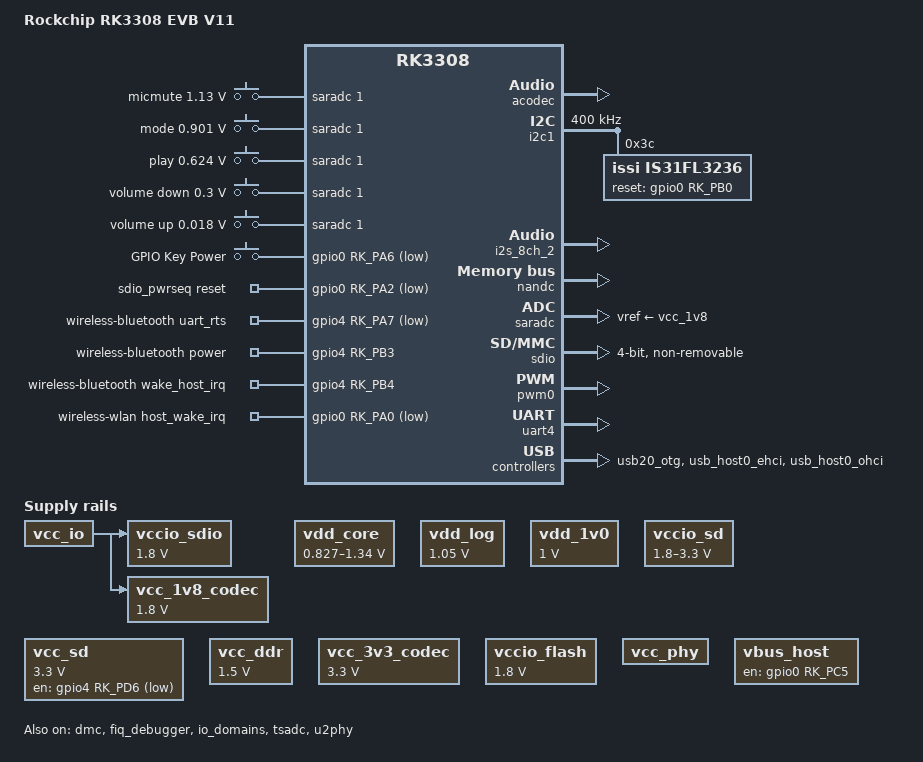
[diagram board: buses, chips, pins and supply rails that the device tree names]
// SPDX-License-Identifier: (GPL-2.0+ OR MIT)
/*
 * Copyright (c) 2018 Fuzhou Rockchip Electronics Co., Ltd
 */

#include <dt-bindings/input/input.h>
#include "rk3308.dtsi"

/ {
	model = "Rockchip RK3308 EVB V11";
	compatible = "rockchip,rk3308-evb-v11", "rockchip,rk3308";

	chosen {
		bootargs = "earlycon=uart8250,mmio32,0xff0c0000 swiotlb=1 console=ttyFIQ0 root=PARTUUID=614e0000-0000 rootfstype=squashfs rootwait";
	};

	adc-keys {
		compatible = "adc-keys";
		io-channels = <&saradc 1>;
		io-channel-names = "buttons";
		poll-interval = <100>;
		keyup-threshold-microvolt = <1800000>;

		esc-key {
			linux,code = <KEY_MICMUTE>;
			label = "micmute";
			press-threshold-microvolt = <1130000>;
		};

		home-key {
			linux,code = <KEY_MODE>;
			label = "mode";
			press-threshold-microvolt = <901000>;
		};

		menu-key {
			linux,code = <KEY_PLAY>;
			label = "play";
			press-threshold-microvolt = <624000>;
		};

		vol-down-key {
			linux,code = <KEY_VOLUMEDOWN>;
			label = "volume down";
			press-threshold-microvolt = <300000>;
		};

		vol-up-key {
			linux,code = <KEY_VOLUMEUP>;
			label = "volume up";
			press-threshold-microvolt = <18000>;
		};
	};

	dummy_codec: dummy-codec {
		compatible = "rockchip,dummy-codec";
		#sound-dai-cells = <0>;
	};

	gpio-keys {
		compatible = "gpio-keys";
		autorepeat;

		pinctrl-names = "default";
		pinctrl-0 = <&pwr_key>;

		power {
			gpios = <&gpio0 RK_PA6 GPIO_ACTIVE_LOW>;
			linux,code = <KEY_POWER>;
			label = "GPIO Key Power";
			wakeup-source;
			debounce-interval = <100>;
		};
	};

	sdio_pwrseq: sdio-pwrseq {
		compatible = "mmc-pwrseq-simple";
		pinctrl-names = "default";
		pinctrl-0 = <&wifi_enable_h>;

		/*
		 * On the module itself this is one of these (depending
		 * on the actual card populated):
		 * - SDIO_RESET_L_WL_REG_ON
		 * - PDN (power down when low)
		 */
		reset-gpios = <&gpio0 RK_PA2 GPIO_ACTIVE_LOW>;
	};

	acodec_sound: acodec-sound {
		compatible = "rockchip,multicodecs-card";
		rockchip,card-name = "rockchip,rk3308-acodec";
		rockchip,codec-hp-det;
		rockchip,mclk-fs = <256>;
		rockchip,cpu = <&i2s_8ch_2>;
		rockchip,codec = <&acodec>;
	};

	bluetooth_sound: bluetooth-sound {
		status = "disabled";
		compatible = "rockchip,multicodecs-card";
		rockchip,card-name = "rockchip,rk3308-pcm";
		rockchip,mclk-fs = <128>;
		rockchip,cpu = <&i2s_2ch_0>;
		rockchip,codec = <&dummy_codec>;
		rockchip,format = "dsp_b";
		rockchip,bitclock-inversion = <0>;
		rockchip,bitclock-master = <&dummy_codec>;
		rockchip,frame-master = <&dummy_codec>;
		rockchip,wait-card-locked = <0>;
	};

	spdif_tx_sound: spdif-tx-sound {
		status = "disabled";
		compatible = "simple-audio-card";
		simple-audio-card,name = "rockchip,spdif-tx-sound";
		simple-audio-card,cpu {
			sound-dai = <&spdif_tx>;
		};
		simple-audio-card,codec {
			sound-dai = <&dummy_codec>;
		};
	};

	vdd_core: vdd-core {
		compatible = "pwm-regulator";
		pwms = <&pwm0 0 5000 1>;
		regulator-name = "vdd_core";
		regulator-min-microvolt = <827000>;
		regulator-max-microvolt = <1340000>;
		regulator-init-microvolt = <1015000>;
		regulator-always-on;
		regulator-boot-on;
		regulator-settling-time-up-us = <250>;
		status = "okay";
	};

	vdd_log: vdd-log {
		compatible = "regulator-fixed";
		regulator-name = "vdd_log";
		regulator-always-on;
		regulator-boot-on;
		regulator-min-microvolt = <1050000>;
		regulator-max-microvolt = <1050000>;
	};

	vdd_1v0: vdd-1v0 {
		compatible = "regulator-fixed";
		regulator-name = "vdd_1v0";
		regulator-always-on;
		regulator-boot-on;
		regulator-min-microvolt = <1000000>;
		regulator-max-microvolt = <1000000>;
	};

	vccio_sdio: vcc_1v8: vcc-1v8 {
		compatible = "regulator-fixed";
		regulator-name = "vcc_1v8";
		regulator-always-on;
		regulator-boot-on;
		regulator-min-microvolt = <1800000>;
		regulator-max-microvolt = <1800000>;
		vin-supply = <&vcc_io>;
	};

	vccio_sd: vccio-sd {
		compatible = "regulator-gpio";
		regulator-name = "vccio_sd";
		regulator-min-microvolt = <1800000>;
		regulator-max-microvolt = <3300000>;
		gpios = <&gpio0 RK_PB7 GPIO_ACTIVE_HIGH>;
		states = <1800000 0x0
			  3300000 0x1>;
	};

	vcc_sd: vcc-sd {
		compatible = "regulator-fixed";
		gpio = <&gpio4 RK_PD6 GPIO_ACTIVE_LOW>;
		regulator-name = "vcc_sd";
		regulator-min-microvolt = <3300000>;
		regulator-max-microvolt = <3300000>;
	};

	vcc_1v8_codec: vcc-1v8-codec {
		compatible = "regulator-fixed";
		regulator-name = "vcc_1v8_codec";
		regulator-always-on;
		regulator-boot-on;
		regulator-min-microvolt = <1800000>;
		regulator-max-microvolt = <1800000>;
		vin-supply = <&vcc_io>;
	};

	vcc_ddr: vcc-ddr {
		compatible = "regulator-fixed";
		regulator-name = "vcc_ddr";
		regulator-always-on;
		regulator-boot-on;
		regulator-min-microvolt = <1500000>;
		regulator-max-microvolt = <1500000>;
	};

	vcc_3v3_codec: vcc_io: vcc-io {
		compatible = "regulator-fixed";
		regulator-name = "vcc_io";
		regulator-always-on;
		regulator-boot-on;
		regulator-min-microvolt = <3300000>;
		regulator-max-microvolt = <3300000>;
	};

	vccio_flash: vccio-flash {
		compatible = "regulator-fixed";
		regulator-name = "vccio_flash";
		regulator-always-on;
		regulator-boot-on;
		regulator-min-microvolt = <1800000>;
		regulator-max-microvolt = <1800000>;
	};

	vcc_phy: vcc-phy-regulator {
		compatible = "regulator-fixed";
		regulator-name = "vcc_phy";
		regulator-always-on;
		regulator-boot-on;
	};

	vbus_host: vbus-host-regulator {
		compatible = "regulator-fixed";
		enable-active-high;
		gpio = <&gpio0 RK_PC5 GPIO_ACTIVE_HIGH>;
		pinctrl-names = "default";
		pinctrl-0 = <&usb_drv>;
		regulator-name = "vbus_host";
	};

	wireless-bluetooth {
		compatible = "bluetooth-platdata";
		uart_rts_gpios = <&gpio4 RK_PA7 GPIO_ACTIVE_LOW>;
		pinctrl-names = "default", "rts_gpio";
		pinctrl-0 = <&uart4_rts>;
		pinctrl-1 = <&uart4_rts_gpio>;
		BT,power_gpio    = <&gpio4 RK_PB3 GPIO_ACTIVE_HIGH>;
		BT,wake_host_irq = <&gpio4 RK_PB4 GPIO_ACTIVE_HIGH>;
		status = "okay";
	};

	wireless-wlan {
		compatible = "wlan-platdata";
		rockchip,grf = <&grf>;
		pinctrl-names = "default";
		pinctrl-0 = <&wifi_wake_host>;
		wifi_chip_type = "ap6255";
		WIFI,host_wake_irq = <&gpio0 RK_PA0 GPIO_ACTIVE_LOW>;
		status = "okay";
	};
};

&acodec {
	status = "okay";

	rockchip,loopback-grp = <0>;
	hp-ctl-gpios = <&gpio0 RK_PA1 GPIO_ACTIVE_HIGH>;
	spk-ctl-gpios = <&gpio0 RK_PA5 GPIO_ACTIVE_HIGH>;
};

&cpu0 {
	cpu-supply = <&vdd_core>;
};

&cpu0_opp_table {
	opp-1200000000 {
		status = "okay";
	};
	opp-1296000000 {
		status = "okay";
	};
};

&dmc {
	center-supply = <&vdd_log>;
	status = "okay";
};

&emmc {
	bus-width = <8>;
	cap-mmc-highspeed;
	mmc-hs200-1_8v;
	supports-emmc;
	disable-wp;
	non-removable;
	num-slots = <1>;
	status = "disabled";
};

&fiq_debugger {
	status = "okay";
};

&mac {
	phy-supply = <&vcc_phy>;
	assigned-clocks = <&cru SCLK_MAC>;
	assigned-clock-parents = <&mac_clkin>;
	clock_in_out = "input";
	pinctrl-names = "default";
	pinctrl-0 = <&rmii_pins &mac_refclk>;
	snps,reset-gpio = <&gpio0 RK_PB2 GPIO_ACTIVE_LOW>;
	snps,reset-active-low;
	snps,reset-delays-us = <0 50000 50000>;
	status = "disable";
};

&io_domains {
	status = "okay";

	vccio0-supply = <&vcc_io>;
	vccio1-supply = <&vcc_io>;
	vccio2-supply = <&vcc_1v8>;
	vccio3-supply = <&vccio_flash>;
	vccio4-supply = <&vccio_sdio>;
	vccio5-supply = <&vccio_sd>;
};

&i2c1 {
	clock-frequency = <400000>;
	status = "okay";

	is31fl3236: led-controller@3c {
		compatible = "issi,is31fl3236";
		reg = <0x3c>;
		#address-cells = <1>;
		#size-cells = <0>;
		reset-gpios = <&gpio0 RK_PB0 GPIO_ACTIVE_HIGH>;
		status = "okay";

		led1: led@1 {
			label = "led1";
			reg = <1>;
			led-max-microamp = <10000>;
			linux,default-trigger = "timer";
			linux,default-trigger-delay-ms = <0>;
			linux,blink-delay-on-ms = <100>;
			linux,blink-delay-off-ms = <1200>;
		};

		led2: led@2 {
			label = "led2";
			reg = <2>;
			led-max-microamp = <10000>;
			linux,default-trigger = "timer";
			linux,default-trigger-delay-ms = <0>;
			linux,blink-delay-on-ms = <100>;
			linux,blink-delay-off-ms = <1200>;
		};

		led3: led@3 {
			label = "led3";
			reg = <3>;
			led-max-microamp = <10000>;
			linux,default-trigger = "default-on";
		};

		led4: led@4 {
			label = "led4";
			reg = <4>;
			led-max-microamp = <10000>;
			linux,default-trigger = "timer";
			linux,default-trigger-delay-ms = <100>;
			linux,blink-delay-on-ms = <100>;
			linux,blink-delay-off-ms = <1200>;
		};

		led5: led@5 {
			label = "led5";
			reg = <5>;
			led-max-microamp = <10000>;
			linux,default-trigger = "timer";
			linux,default-trigger-delay-ms = <100>;
			linux,blink-delay-on-ms = <100>;
			linux,blink-delay-off-ms = <1200>;
		};

		led6: led@6 {
			label = "led6";
			reg = <6>;
			led-max-microamp = <10000>;
			linux,default-trigger = "default-on";
		};

		led7: led@7 {
			label = "led7";
			reg = <7>;
			led-max-microamp = <10000>;
			linux,default-trigger = "timer";
			linux,default-trigger-delay-ms = <200>;
			linux,blink-delay-on-ms = <100>;
			linux,blink-delay-off-ms = <1200>;
		};

		led8: led@8 {
			label = "led8";
			reg = <8>;
			led-max-microamp = <10000>;
			linux,default-trigger = "timer";
			linux,default-trigger-delay-ms = <200>;
			linux,blink-delay-on-ms = <100>;
			linux,blink-delay-off-ms = <1200>;
		};

		led9: led@9 {
			label = "led9";
			reg = <9>;
			led-max-microamp = <10000>;
			linux,default-trigger = "default-on";
		};

		led10: led@10 {
			label = "led10";
			reg = <10>;
			led-max-microamp = <10000>;
			linux,default-trigger = "timer";
			linux,default-trigger-delay-ms = <300>;
			linux,blink-delay-on-ms = <100>;
			linux,blink-delay-off-ms = <1200>;
		};

		led11: led@11 {
			label = "led11";
			reg = <11>;
			led-max-microamp = <10000>;
			linux,default-trigger = "timer";
			linux,default-trigger-delay-ms = <300>;
			linux,blink-delay-on-ms = <100>;
			linux,blink-delay-off-ms = <1200>;
		};

		led12: led@12 {
			label = "led12";
			reg = <12>;
			led-max-microamp = <10000>;
			linux,default-trigger = "default-on";
		};

		led13: led@13 {
			label = "led13";
			reg = <13>;
			led-max-microamp = <10000>;
			linux,default-trigger = "timer";
			linux,default-trigger-delay-ms = <400>;
			linux,blink-delay-on-ms = <100>;
			linux,blink-delay-off-ms = <1200>;
		};

		led14: led@14 {
			label = "led14";
			reg = <14>;
			led-max-microamp = <10000>;
			linux,default-trigger = "timer";
			linux,default-trigger-delay-ms = <400>;
			linux,blink-delay-on-ms = <100>;
			linux,blink-delay-off-ms = <1200>;
		};

		led15: led@15 {
			label = "led15";
			reg = <15>;
			led-max-microamp = <10000>;
			linux,default-trigger = "default-on";
		};

		led16: led@16 {
			label = "led16";
			reg = <16>;
			led-max-microamp = <10000>;
			linux,default-trigger = "timer";
			linux,default-trigger-delay-ms = <500>;
			linux,blink-delay-on-ms = <100>;
			linux,blink-delay-off-ms = <1200>;
		};

		led17: led@17 {
			label = "led17";
			reg = <17>;
			led-max-microamp = <10000>;
			linux,default-trigger = "timer";
			linux,default-trigger-delay-ms = <500>;
			linux,blink-delay-on-ms = <100>;
			linux,blink-delay-off-ms = <1200>;
		};

		led18: led@18 {
			label = "led18";
			reg = <18>;
			led-max-microamp = <10000>;
			linux,default-trigger = "default-on";
		};

		led19: led@19 {
			label = "led19";
			reg = <19>;
			led-max-microamp = <10000>;
			linux,default-trigger = "timer";
			linux,default-trigger-delay-ms = <600>;
			linux,blink-delay-on-ms = <100>;
			linux,blink-delay-off-ms = <1200>;
		};

		led20: led@20 {
			label = "led20";
			reg = <20>;
			led-max-microamp = <10000>;
			linux,default-trigger = "timer";
			linux,default-trigger-delay-ms = <600>;
			linux,blink-delay-on-ms = <100>;
			linux,blink-delay-off-ms = <1200>;
		};

		led21: led@21 {
			label = "led21";
			reg = <21>;
			led-max-microamp = <10000>;
			linux,default-trigger = "default-on";
		};

		led22: led@22 {
			label = "led22";
			reg = <22>;
			led-max-microamp = <10000>;
			linux,default-trigger = "timer";
			linux,default-trigger-delay-ms = <700>;
			linux,blink-delay-on-ms = <100>;
			linux,blink-delay-off-ms = <1200>;
		};

		led23: led@23 {
			label = "led23";
			reg = <23>;
			led-max-microamp = <10000>;
			linux,default-trigger = "timer";
			linux,default-trigger-delay-ms = <700>;
			linux,blink-delay-on-ms = <100>;
			linux,blink-delay-off-ms = <1200>;
		};

		led124: led@24 {
			label = "led24";
			reg = <24>;
			led-max-microamp = <10000>;
			linux,default-trigger = "default-on";
		};

		led25: led@25 {
			label = "led25";
			reg = <25>;
			led-max-microamp = <10000>;
			linux,default-trigger = "timer";
			linux,default-trigger-delay-ms = <800>;
			linux,blink-delay-on-ms = <100>;
			linux,blink-delay-off-ms = <1200>;
		};

		led26: led@26 {
			label = "led26";
			reg = <26>;
			led-max-microamp = <10000>;
			linux,default-trigger = "timer";
			linux,default-trigger-delay-ms = <800>;
			linux,blink-delay-on-ms = <100>;
			linux,blink-delay-off-ms = <1200>;
		};

		led27: led@27 {
			label = "led27";
			reg = <27>;
			led-max-microamp = <10000>;
			linux,default-trigger = "default-on";
		};

		led28: led@28 {
			label = "led28";
			reg = <28>;
			led-max-microamp = <10000>;
			linux,default-trigger = "timer";
			linux,default-trigger-delay-ms = <900>;
			linux,blink-delay-on-ms = <100>;
			linux,blink-delay-off-ms = <1200>;
		};

		led29: led@29 {
			label = "led29";
			reg = <29>;
			led-max-microamp = <10000>;
			linux,default-trigger = "timer";
			linux,default-trigger-delay-ms = <900>;
			linux,blink-delay-on-ms = <100>;
			linux,blink-delay-off-ms = <1200>;
		};

		led30: led@30 {
			label = "led30";
			reg = <30>;
			led-max-microamp = <10000>;
			linux,default-trigger = "default-on";
		};

		led31: led@31 {
			label = "led31";
			reg = <31>;
			led-max-microamp = <10000>;
			linux,default-trigger = "timer";
			linux,default-trigger-delay-ms = <1000>;
			linux,blink-delay-on-ms = <100>;
			linux,blink-delay-off-ms = <1200>;
		};

		led32: led@32 {
			label = "led32";
			reg = <32>;
			led-max-microamp = <10000>;
			linux,default-trigger = "timer";
			linux,default-trigger-delay-ms = <1000>;
			linux,blink-delay-on-ms = <100>;
			linux,blink-delay-off-ms = <1200>;
		};

		led33: led@33 {
			label = "led33";
			reg = <33>;
			led-max-microamp = <10000>;
			linux,default-trigger = "default-on";
		};

		led34: led@34 {
			label = "led34";
			reg = <34>;
			led-max-microamp = <10000>;
			linux,default-trigger = "timer";
			linux,default-trigger-delay-ms = <1100>;
			linux,blink-delay-on-ms = <100>;
			linux,blink-delay-off-ms = <1200>;
		};

		led35: led@35 {
			label = "led35";
			reg = <35>;
			led-max-microamp = <10000>;
			linux,default-trigger = "timer";
			linux,default-trigger-delay-ms = <1100>;
			linux,blink-delay-on-ms = <100>;
			linux,blink-delay-off-ms = <1200>;
		};

		led36: led@36 {
			label = "led36";
			reg = <36>;
			led-max-microamp = <10000>;
			linux,default-trigger = "default-on";
		};
	};
};

&i2s_8ch_2 {
	status = "okay";
};

&nandc {
	status = "okay";
};

&rockchip_suspend {
	rockchip,pwm-regulator-config = <
		(0
		| RKPM_PWM_REGULATOR
		)
	>;

	status = "okay";
};

&saradc {
	status = "okay";
	vref-supply = <&vcc_1v8>;
};

&sdio {
	bus-width = <4>;
	cap-sd-highspeed;
	supports-sdio;
	ignore-pm-notify;
	keep-power-in-suspend;
	non-removable;
	mmc-pwrseq = <&sdio_pwrseq>;
	sd-uhs-sdr104;
	status = "okay";
};

&sdmmc {
	bus-width = <4>;
	cap-mmc-highspeed;
	cap-sd-highspeed;
	supports-sd;
	card-detect-delay = <300>;
	sd-uhs-sdr25;
	sd-uhs-sdr50;
	sd-uhs-sdr104;
	vmmc-supply = <&vcc_sd>;
	vqmmc-supply = <&vccio_sd>;
	status = "disabled";
};

&tsadc {
	rockchip,hw-tshut-mode = <0>; /* tshut mode 0:CRU 1:GPIO */
	rockchip,hw-tshut-polarity = <1>; /* tshut polarity 0:LOW 1:HIGH */
	status = "okay";
};

&pinctrl {
	pinctrl-names = "default";
	pinctrl-0 = <&rtc_32k>;

	buttons {
		pwr_key: pwr-key {
			rockchip,pins = <0 RK_PA6 RK_FUNC_GPIO &pcfg_pull_up>;
		};
	};

	usb {
		usb_drv: usb-drv {
			rockchip,pins = <0 RK_PC5 RK_FUNC_GPIO &pcfg_pull_none>;
		};
	};

	sdio-pwrseq {
		wifi_enable_h: wifi-enable-h {
			rockchip,pins = <0 RK_PA2 RK_FUNC_GPIO &pcfg_pull_none>;
		};
	};

	wireless-wlan {
		wifi_wake_host: wifi-wake-host {
			rockchip,pins = <0 RK_PA0 RK_FUNC_GPIO &pcfg_pull_up>;
		};
	};
};

&pwm0 {
	status = "okay";
	pinctrl-names = "active";
	pinctrl-0 = <&pwm0_pin_pull_down>;
};

&u2phy {
	status = "okay";

	u2phy_host: host-port {
		phy-supply = <&vbus_host>;
		status = "okay";
	};

	u2phy_otg: otg-port {
		status = "okay";
	};
};

&uart4 {
	pinctrl-names = "default";
	pinctrl-0 = <&uart4_xfer &uart4_cts>;
	status = "okay";
};

&usb20_otg {
	status = "okay";
};

&usb_host0_ehci {
	status = "okay";
};

&usb_host0_ohci{
	status = "okay";
};
